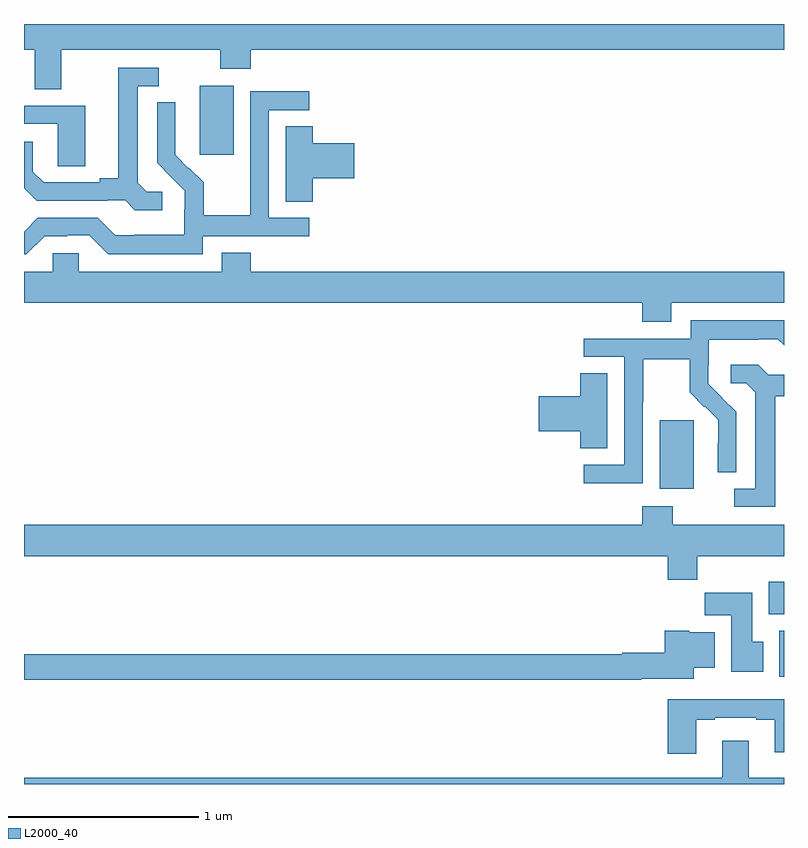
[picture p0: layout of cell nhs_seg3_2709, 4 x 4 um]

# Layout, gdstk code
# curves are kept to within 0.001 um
import gdstk
lib = gdstk.Library(unit=1e-6, precision=1e-09)
def R(c, l, rs):  # rectangles x0, y0, x1, y1
    for r in rs: c.add(gdstk.rectangle(r[:2], r[2:], *l))
def P(c, l, *ps):  # polygons
    for p in ps: c.add(gdstk.Polygon(p, *l))
L2000_40 = (2000, 40)

nhs_seg3_2709 = lib.new_cell('nhs_seg3_2709')
R(nhs_seg3_2709, L2000_40, [(254.975,682.964,255,683.206), (254.921,683.294,255,683.464), (254.345,683.954,254.524,684.315), (251.924,685.713,252.103,686.074)])
P(nhs_seg3_2709, L2000_40, [(251.197,686.264),(252.034,686.264),(252.034,686.165),(252.194,686.165),(252.194,686.264),(255,686.264),(255,686.4),(251,686.4),(251,686.264),(251.057,686.264),(251.057,686.056),(251.197,686.056)],
  [(251.728,685.518),(251.646,685.518),(251.599,685.565),(251.599,686.073),(251.71,686.073),(251.71,686.169),(251.495,686.169),(251.495,685.589),(251.399,685.589),(251.399,685.566),(251.104,685.566),(251.047,685.623),(251.047,685.78),(251,685.78),(251,685.536),(251.066,685.47),(251.438,685.47),(251.438,685.473),(251.532,685.473),(251.584,685.421),(251.728,685.421)],
  [(251.94,685.284),(252.502,685.284),(252.502,685.38),(252.288,685.38),(252.288,685.947),(252.502,685.947),(252.502,686.046),(252.192,686.046),(252.192,685.616),(252.19,685.616),(252.19,685.393),(251.945,685.393),(251.945,685.567),(251.868,685.644),(251.865,685.641),(251.795,685.712),(251.796,685.988),(251.7,685.988),(251.7,685.67),(251.846,685.522),(251.846,685.425),(251.844,685.425),(251.844,685.291),(251.581,685.291),(251.581,685.287),(251.481,685.287),(251.388,685.38),(251.073,685.38),(251,685.307),(251,685.188),(251.013,685.188),(251.109,685.284),(251.228,685.284),(251.228,685.287),(251.343,685.287),(251.443,685.187),(251.94,685.187)],
  [(251.323,685.971),(251,685.971),(251,685.875),(251.178,685.875),(251.178,685.651),(251.323,685.651)],
  [(252.521,685.589),(252.739,685.589),(252.739,685.772),(252.521,685.772),(252.521,685.862),(252.377,685.862),(252.377,685.465),(252.521,685.465)],
  [(254.255,684.833),(254.407,684.833),(254.407,684.932),(255,684.932),(255,685.096),(252.194,685.096),(252.194,685.195),(252.041,685.195),(252.041,685.096),(251.289,685.096),(251.289,685.194),(251.151,685.194),(251.151,685.096),(251,685.096),(251,684.932),(254.255,684.932)],
  [(254.256,684.412),(254.259,684.412),(254.259,684.636),(254.503,684.636),(254.503,684.461),(254.58,684.384),(254.583,684.387),(254.654,684.317),(254.654,684.194),(254.652,684.194),(254.652,684.04),(254.748,684.04),(254.748,684.358),(254.602,684.506),(254.602,684.603),(254.604,684.603),(254.604,684.737),(254.867,684.737),(254.867,684.741),(254.967,684.741),(255,684.708),(255,684.841),(254.508,684.841),(254.508,684.744),(253.947,684.744),(253.947,684.648),(254.16,684.648),(254.16,684.081),(253.947,684.081),(253.947,683.983),(254.256,683.983)],
  [(254.953,684.44),(255,684.44),(255,684.555),(254.916,684.555),(254.864,684.607),(254.721,684.607),(254.721,684.51),(254.802,684.51),(254.849,684.463),(254.849,683.955),(254.739,683.955),(254.739,683.859),(254.953,683.859)],
  [(254.071,684.563),(253.928,684.563),(253.928,684.44),(253.71,684.44),(253.71,684.257),(253.928,684.257),(253.928,684.166),(254.071,684.166)],
  [(254.543,683.6),(255,683.6),(255,683.764),(254.415,683.764),(254.415,683.863),(254.255,683.863),(254.255,683.764),(251,683.764),(251,683.6),(254.387,683.6),(254.387,683.476),(254.543,683.476)],
  [(254.89,683.148),(254.833,683.148),(254.833,683.406),(254.584,683.406),(254.584,683.288),(254.723,683.288),(254.723,682.992),(254.89,682.992)],
  [(254.248,682.955),(254.524,682.955),(254.524,683.012),(254.635,683.012),(254.635,683.2),(254.502,683.2),(254.502,683.206),(254.372,683.206),(254.372,683.092),(254.148,683.092),(254.148,683.084),(251,683.084),(251,682.948),(254.248,682.948)],
  [(254.539,682.737),(254.635,682.737),(254.635,682.749),(254.855,682.749),(254.855,682.737),(254.951,682.737),(254.951,682.568),(255,682.568),(255,682.846),(254.387,682.846),(254.387,682.56),(254.539,682.56)],
  [(255,682.432),(254.815,682.432),(254.815,682.627),(254.675,682.627),(254.675,682.432),(251,682.432),(251,682.4),(255,682.4)])

lib.write_gds('nhs_seg3_2709.gds')
